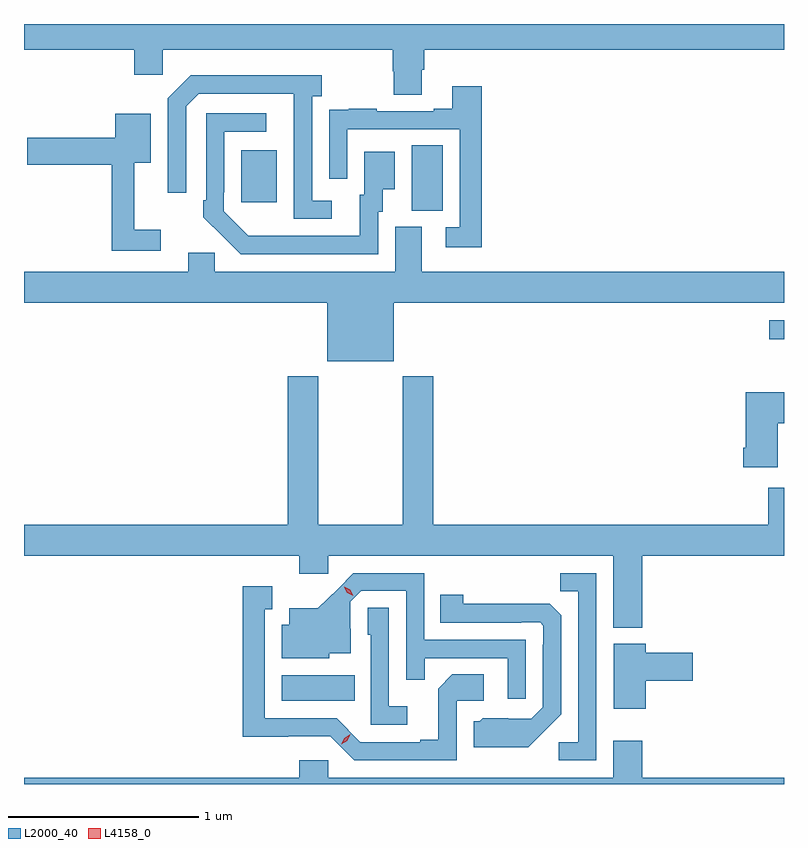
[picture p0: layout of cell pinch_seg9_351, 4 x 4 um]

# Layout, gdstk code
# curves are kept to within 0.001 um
import gdstk
lib = gdstk.Library(unit=1e-6, precision=1e-09)
def R(c, l, rs):  # rectangles x0, y0, x1, y1
    for r in rs: c.add(gdstk.rectangle(r[:2], r[2:], *l))
def P(c, l, *ps):  # polygons
    for p in ps: c.add(gdstk.Polygon(p, *l))
L2000_40 = (2000, 40)
L4158_0 = (4158, 0)

pinch_seg9_351 = lib.new_cell('pinch_seg9_351')
R(pinch_seg9_351, L2000_40, [(610.898,1190.33,611.282,1190.464), (613.464,1192.231,613.542,1192.332), (611.582,1192.909,611.746,1193.252), (610.685,1192.953,610.873,1193.227)])
P(pinch_seg9_351, L2000_40, [(611.635,1193.65),(611.648,1193.65),(611.648,1193.756),(613.542,1193.756),(613.542,1193.891),(609.542,1193.891),(609.542,1193.756),(610.121,1193.756),(610.121,1193.625),(610.272,1193.625),(610.272,1193.756),(611.483,1193.756),(611.483,1193.643),(611.488,1193.643),(611.488,1193.518),(611.635,1193.518)],
  [(611.161,1192.962),(611.058,1192.962),(611.058,1193.51),(611.11,1193.51),(611.11,1193.62),(610.42,1193.62),(610.299,1193.499),(610.299,1193.004),(610.395,1193.004),(610.395,1193.457),(610.461,1193.523),(610.961,1193.523),(610.962,1192.866),(611.161,1192.866)],
  [(611.951,1193.563),(611.795,1193.563),(611.795,1193.446),(611.699,1193.446),(611.699,1193.433),(611.399,1193.433),(611.399,1193.446),(611.251,1193.446),(611.251,1193.439),(611.149,1193.439),(611.149,1193.33),(611.148,1193.33),(611.148,1193.076),(611.244,1193.076),(611.244,1193.337),(611.835,1193.337),(611.835,1192.821),(611.763,1192.821),(611.763,1192.716),(611.951,1192.716)],
  [(611.406,1192.902),(611.431,1192.902),(611.431,1193.021),(611.494,1193.021),(611.494,1193.218),(611.333,1193.218),(611.333,1192.992),(611.309,1192.992),(611.309,1192.776),(610.722,1192.777),(610.593,1192.905),(610.593,1193.005),(610.596,1193.005),(610.596,1193.325),(610.816,1193.325),(610.816,1193.421),(610.5,1193.421),(610.5,1192.963),(610.485,1192.963),(610.485,1192.875),(610.682,1192.68),(611.406,1192.68)],
  [(610.261,1192.807),(610.121,1192.807),(610.121,1193.162),(610.21,1193.162),(610.21,1193.419),(610.022,1193.419),(610.022,1193.292),(609.558,1193.292),(609.558,1193.15),(610.003,1193.15),(610.003,1192.698),(610.261,1192.698)],
  [(611.488,1192.424),(613.542,1192.424),(613.542,1192.588),(611.635,1192.588),(611.635,1192.824),(611.495,1192.824),(611.495,1192.588),(610.545,1192.588),(610.545,1192.686),(610.406,1192.686),(610.406,1192.588),(609.542,1192.588),(609.542,1192.424),(611.138,1192.424),(611.138,1192.115),(611.488,1192.115)],
  [(612.797,1191.092),(613.542,1191.092),(613.542,1191.451),(613.46,1191.451),(613.46,1191.256),(611.696,1191.256),(611.696,1192.036),(611.536,1192.036),(611.536,1191.256),(611.091,1191.256),(611.091,1192.036),(610.931,1192.036),(610.931,1191.256),(609.542,1191.256),(609.542,1191.092),(610.991,1191.092),(610.991,1190.997),(611.142,1190.997),(611.142,1191.092),(612.644,1191.092),(612.644,1190.714),(612.797,1190.714)],
  [(613.51,1191.79),(613.542,1191.79),(613.542,1191.952),(613.34,1191.952),(613.34,1191.661),(613.328,1191.661),(613.328,1191.557),(613.51,1191.557)],
  [(612.183,1190.649),(611.649,1190.649),(611.649,1191),(611.276,1191),(611.089,1190.815),(610.937,1190.815),(610.937,1190.728),(610.898,1190.728),(610.898,1190.552),(611.148,1190.552),(611.148,1190.579),(611.263,1190.579),(611.263,1190.708),(611.259,1190.708),(611.259,1190.85),(611.316,1190.907),(611.553,1190.907),(611.553,1190.44),(611.651,1190.44),(611.651,1190.553),(612.087,1190.553),(612.087,1190.34),(612.183,1190.34)],
  [(612.555,1191),(612.364,1191),(612.364,1190.905),(612.459,1190.905),(612.459,1190.112),(612.357,1190.112),(612.357,1190.016),(612.555,1190.016)],
  [(611.82,1190.328),(611.962,1190.328),(611.962,1190.468),(611.797,1190.468),(611.721,1190.392),(611.721,1190.125),(611.627,1190.125),(611.627,1190.112),(611.313,1190.112),(611.187,1190.238),(610.81,1190.238),(610.81,1190.811),(610.849,1190.811),(610.849,1190.932),(610.692,1190.932),(610.692,1190.141),(611.154,1190.142),(611.28,1190.016),(611.82,1190.016)],
  [(612.277,1190.165),(612.369,1190.258),(612.369,1190.78),(612.31,1190.839),(611.853,1190.84),(611.853,1190.887),(611.734,1190.887),(611.734,1190.739),(612.158,1190.739),(612.158,1190.742),(612.258,1190.742),(612.276,1190.724),(612.276,1190.624),(612.273,1190.624),(612.273,1190.295),(612.213,1190.235),(611.956,1190.236),(611.94,1190.22),(611.909,1190.22),(611.909,1190.084),(612.197,1190.084)],
  [(611.56,1190.299),(611.463,1190.299),(611.463,1190.819),(611.352,1190.819),(611.352,1190.676),(611.367,1190.676),(611.367,1190.202),(611.56,1190.202)],
  [(612.814,1190.435),(613.063,1190.435),(613.063,1190.582),(612.814,1190.582),(612.814,1190.629),(612.647,1190.629),(612.647,1190.286),(612.814,1190.286)],
  [(613.542,1189.924),(612.797,1189.924),(612.797,1190.119),(612.644,1190.119),(612.644,1189.924),(611.142,1189.924),(611.142,1190.017),(610.991,1190.017),(610.991,1189.924),(609.542,1189.924),(609.542,1189.891),(613.542,1189.891)])
P(pinch_seg9_351, L4158_0, [(611.276,1190.883),(611.244,1190.898),(611.227,1190.927),(611.227,1190.928),(611.227,1190.928),(611.258,1190.913),(611.276,1190.883),(611.276,1190.883)],
  [(611.211,1190.1),(611.211,1190.1),(611.228,1190.133),(611.259,1190.153),(611.259,1190.153),(611.259,1190.152),(611.242,1190.119),(611.211,1190.1)])

lib.write_gds('pinch_seg9_351.gds')
